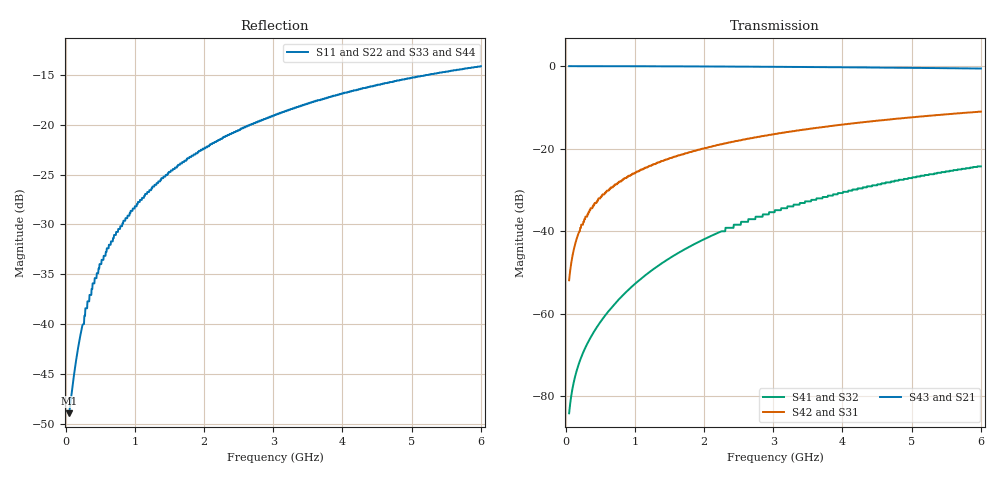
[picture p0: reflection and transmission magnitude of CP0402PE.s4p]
!	AVX THIN FILM OPERATION
!	CP0402 HIGH DIRECTIVITY TIGHT TOLERANCE COUPLERS
!	P/N CP0402PxxxxENTR
!	Network	Analyzer HP8720ES.07.64:Feb23,2000 Serial No.US39172382
!	Hewlett-Packard
!	12 September 2011
!	5MHz step
# MHZ S MA R 50
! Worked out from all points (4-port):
!   1191 points, 50 MHz to 6 GHz, reference 50 ohm
!   strongest paths, dB at 50 MHz, 1.535 GHz, 3.025 GHz, 4.515 GHz, 6 GHz:
!     S43: 0.0, -0.1, -0.2, -0.4, -0.6
!     S21: 0.0, -0.1, -0.2, -0.4, -0.6
!     S42: -51.9, -22.2, -16.4, -13.2, -11.0
!     S31: -51.9, -22.2, -16.4, -13.2, -11.0
!     S41: -84.1, -46.2, -34.9, -28.6, -24.3
!     S32: -84.1, -46.2, -34.9, -28.6, -24.3
!   lowest |S11| = -49.0 dB at 50 MHz (marker M1), VSWR 1.01, Z = 50.3 - j0.196 ohm
!   |S11| at or under -10 dB: start of sweep to end of sweep
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50  0.003564 -33.2  0.997 -0.2  0.002549 89.7  6.247e-05 84.3
    0.997 -0.2  0.003564 -33.2  6.247e-05 84.3  0.002549 89.7
    0.002549 89.7  6.247e-05 84.3  0.003564 -33.2  0.997 -0.2
    6.247e-05 84.3  0.002549 89.7  0.997 -0.2  0.003564 -33.2
210  0.008679 -70.9  0.997 -1.0  0.011 89.0  0.0002763 69.2
     0.997 -1.0  0.008679 -70.9  0.0002763 69.2  0.011 89.0
     0.011 89.0  0.0002763 69.2  0.008679 -70.9  0.997 -1.0
     0.0002763 69.2  0.011 89.0  0.997 -1.0  0.008679 -70.9
500  0.02 -83.7  0.996 -2.3  0.025 87.6  0.0007931 47.5
     0.996 -2.3  0.02 -83.7  0.0007931 47.5  0.025 87.6
     0.025 87.6  0.0007931 47.5  0.02 -83.7  0.996 -2.3
     0.0007931 47.5  0.025 87.6  0.996 -2.3  0.02 -83.7
1015  0.039 -90.5  0.995 -4.8  0.052 85.2  0.00236 23.9
      0.995 -4.8  0.039 -90.5  0.00236 23.9  0.052 85.2
      0.052 85.2  0.00236 23.9  0.039 -90.5  0.995 -4.8
      0.00236 23.9  0.052 85.2  0.995 -4.8  0.039 -90.5
1710  0.065 -95.6  0.991 -8.0  0.086 81.9  0.00598 6.6
      0.991 -8.0  0.065 -95.6  0.00598 6.6  0.086 81.9
      0.086 81.9  0.00598 6.6  0.065 -95.6  0.991 -8.0
      0.00598 6.6  0.086 81.9  0.991 -8.0  0.065 -95.6
3485  0.127 -104.9  0.973 -16.2  0.172 73.8  0.023 -17.6
      0.973 -16.2  0.127 -104.9  0.023 -17.6  0.172 73.8
      0.172 73.8  0.023 -17.6  0.127 -104.9  0.973 -16.2
      0.023 -17.6  0.172 73.8  0.973 -16.2  0.127 -104.9
6000  0.197 -115.2  0.934 -27.3  0.281 63.4  0.061 -41.1
      0.934 -27.3  0.197 -115.2  0.061 -41.1  0.281 63.4
      0.281 63.4  0.061 -41.1  0.197 -115.2  0.934 -27.3
      0.061 -41.1  0.281 63.4  0.934 -27.3  0.197 -115.2
